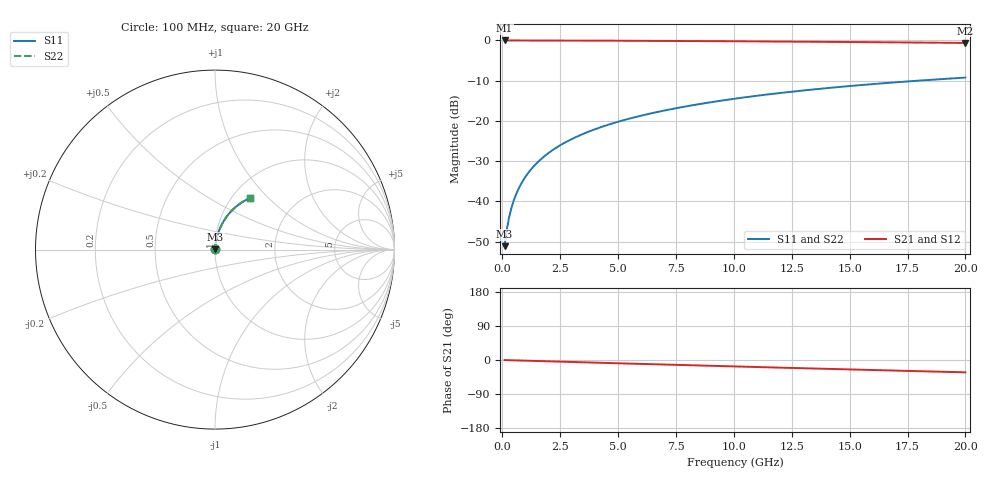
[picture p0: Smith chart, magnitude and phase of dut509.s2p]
! Touchstone file exported from HFSS 2026.1.0
!  File:  C:/ffzhzh/LocalFiles/Ansys_Project_Files/temp_train_TMRDL_509_1783006905_55676.aedt
!  Generated:  11:43:14 PM Jul  2, 2026
!  Design:  TMRDL
!  Project:  temp_train_TMRDL_509_1783006905_55676
! Variables:
!  h_bsmrdl = 2um
!  h_ox = 20um
!  h_rdl = 5um
!  h_sub = 80um
!  h_tmrdl = 5.33um
!  h_tsv = 80um
!  h_via = 3um
!  l_bsmrdl = 300um
!  l_sub = 832.85um
!  l_tmrdl = 432.85um
!  m_sub = 200um
!  pitch = 50.19um
!  r_tsv = 6um
!  s_tmrdl = 10um
!  w_bsmrdl = 18um
!  w_sub = 500um
!  w_tmrdl = 16.83um
!  x_tsv_center1 = 441.265um
!  x_tsv_center2 = 759.265um
!  x_tsv_center3 = 1208.945um
!  x_tsv_center4 = 1526.945um
!  x_tsv_center5 = 1976.625um
!  x_tsv_center6 = 2294.625um
# GHz S MA R 50.000000
! Terminal data exported
! Port[1] = TM_RDL1_1_T1
! Port[2] = TM_RDL1_1_T2
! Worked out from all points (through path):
!   200 points, 100 MHz to 20 GHz, reference 50 ohm
!   highest |S21| = -0.02 dB at 100 MHz (marker M1); lowest = -0.6 dB at 20 GHz (marker M2)
!   group delay of S21, straight-line fit = 4.52 ps
!   lowest |S11| = -51.1 dB at 100 MHz (marker M3), VSWR 1.01, Z = 50.2 + j0.211 ohm
!   |S11| at or under -10 dB: start of sweep to 17.97 GHz
!   |S22| runs from -51.1 to -9.2 dB; largest |S21 - S12| = 3.5e-15
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0.1  0.002784 49.0  0.9982 -0.2  0.9982 -0.2  0.002784 49.0
! Gamma 0 0 0 0
! Port Impedance 50 0 50 0
0.2  0.004572 65.1  0.9981 -0.4  0.9981 -0.4  0.004572 65.1
0.3  0.006479 71.8  0.998 -0.5  0.998 -0.5  0.006479 71.8
0.4  0.008417 75.4  0.998 -0.7  0.998 -0.7  0.008417 75.4
0.5  0.01037 77.7  0.9979 -0.9  0.9979 -0.9  0.01037 77.7
0.7  0.01431 80.2  0.9978 -1.2  0.9978 -1.2  0.01431 80.2
0.8  0.01629 81.0  0.9977 -1.4  0.9977 -1.4  0.01629 81.0
1  0.02025 81.9  0.9976 -1.8  0.9976 -1.8  0.02025 81.9
1.2  0.02422 82.5  0.9974 -2.1  0.9974 -2.1  0.02422 82.5
1.4  0.02818 82.7  0.9972 -2.5  0.9972 -2.5  0.02818 82.7
1.7  0.03412 82.8  0.9969 -3.0  0.9969 -3.0  0.03412 82.8
2  0.04004 82.7  0.9965 -3.5  0.9965 -3.5  0.04004 82.7
2.7  0.05374 82.0  0.9955 -4.7  0.9955 -4.7  0.05374 82.0
3.5  0.06921 81.0  0.9941 -6.1  0.9941 -6.1  0.06921 81.0
4.2  0.08258 80.0  0.9926 -7.3  0.9926 -7.3  0.08258 80.0
5  0.09768 78.8  0.9908 -8.6  0.9908 -8.6  0.09768 78.8
6.8  0.131 76.0  0.9861 -11.7  0.9861 -11.7  0.131 76.0
8.3  0.1582 73.7  0.9815 -14.2  0.9815 -14.2  0.1582 73.7
10.1  0.1899 70.9  0.9753 -17.1  0.9753 -17.1  0.1899 70.9
13.4  0.2455 65.9  0.9621 -22.4  0.9621 -22.4  0.2455 65.9
16.7  0.2973 60.9  0.9468 -27.6  0.9468 -27.6  0.2973 60.9
20  0.345 56.1  0.9301 -32.5  0.9301 -32.5  0.345 56.1
